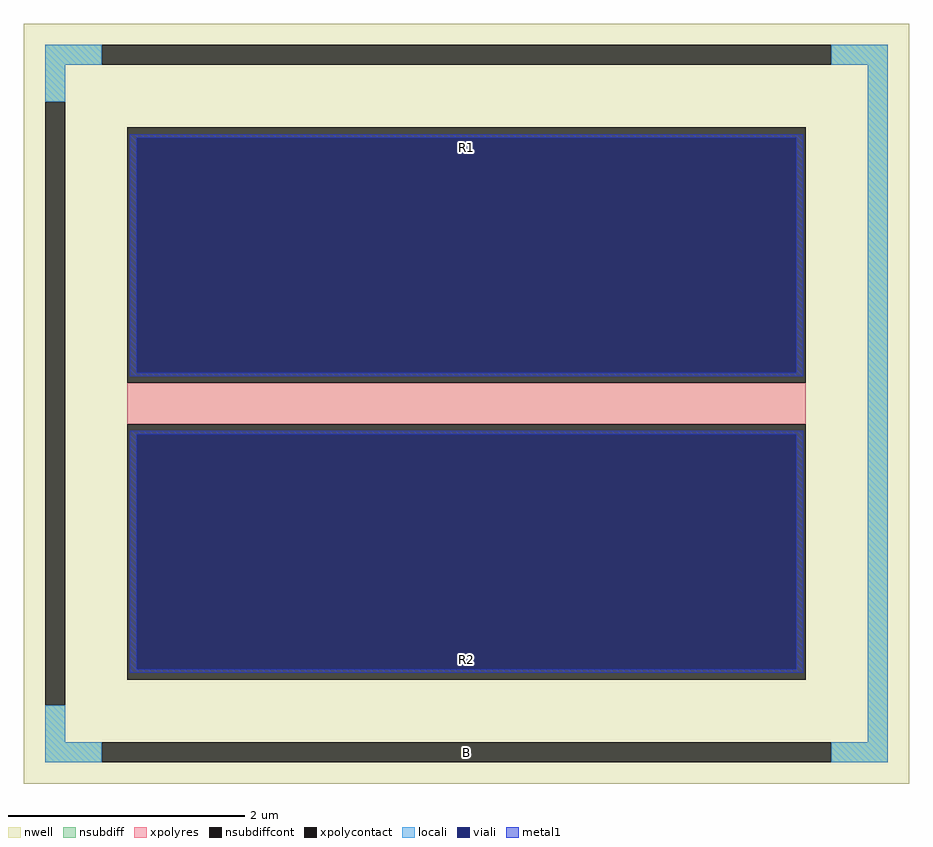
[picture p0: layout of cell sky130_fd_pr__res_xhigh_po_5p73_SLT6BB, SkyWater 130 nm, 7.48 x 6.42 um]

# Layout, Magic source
magic
tech sky130A
magscale 1 2
<< nwell >>
rect -748 -642 748 642
<< nsubdiff >>
rect -712 572 -616 606
rect 616 572 712 606
rect -712 510 -678 572
rect -712 -572 -678 -510
rect 678 -572 712 572
rect -712 -606 -616 -572
rect 616 -606 712 -572
<< nsubdiffcont >>
rect -616 572 616 606
rect -712 -510 -678 510
rect -616 -606 616 -572
<< xpolycontact >>
rect -573 35 573 467
rect -573 -467 573 -35
<< xpolyres >>
rect -573 -35 573 35
<< locali >>
rect -712 572 -616 606
rect 616 572 712 606
rect -712 510 -678 572
rect -712 -572 -678 -510
rect 678 -572 712 572
rect -712 -606 -616 -572
rect 616 -606 712 -572
<< viali >>
rect -557 52 557 449
rect -557 -449 557 -52
<< metal1 >>
rect -569 449 569 455
rect -569 52 -557 449
rect 557 52 569 449
rect -569 46 569 52
rect -569 -52 569 -46
rect -569 -449 -557 -52
rect 557 -449 569 -52
rect -569 -455 569 -449
<< labels >>
rlabel nsubdiffcont 0 -589 0 -589 0 B
port 1 nsew
rlabel xpolycontact 0 432 0 432 0 R1
port 2 nsew
rlabel xpolycontact 0 -432 0 -432 0 R2
port 3 nsew
<< properties >>
string FIXED_BBOX -695 -589 695 589
string gencell sky130_fd_pr__res_xhigh_po_5p73
string library sky130
string parameters w 5.73 l 0.505 m 1 nx 1 wmin 5.730 lmin 0.50 class resistor rho 2000 val 241.954 dummy 0 dw 0.0 term 188.2 sterm 0.0 caplen 0 wmax 5.730 guard 1 glc 1 grc 0 gtc 1 gbc 1 compatible {sky130_fd_pr__res_xhigh_po_0p35  sky130_fd_pr__res_xhigh_po_0p69 sky130_fd_pr__res_xhigh_po_1p41  sky130_fd_pr__res_xhigh_po_2p85 sky130_fd_pr__res_xhigh_po_5p73} snake 0 full_metal 1 n_guard 1 hv_guard 0 vias 1 viagb 0 viagt 0 viagl 0 viagr 0 doports 1
<< end >>
